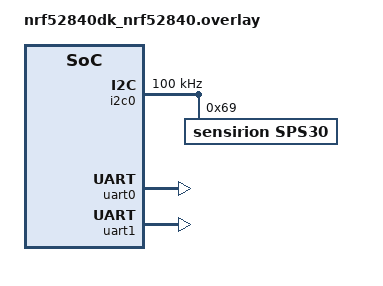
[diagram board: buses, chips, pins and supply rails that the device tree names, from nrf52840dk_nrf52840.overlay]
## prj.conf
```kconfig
CONFIG_GPIO=y

CONFIG_STDOUT_CONSOLE=y
CONFIG_I2C=y
CONFIG_SENSOR=y
CONFIG_CBPRINTF_FP_SUPPORT=y
CONFIG_UART_ASYNC_API=y
CONFIG_UART_1_ASYNC=y
```

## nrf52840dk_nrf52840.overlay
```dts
// &i2c0 {
//   status="okay";
// };


&i2c0 {
  status ="okay";
clock-frequency = <I2C_BITRATE_STANDARD>;
  sps30@69 {
  status = "okay";
  compatible = "sensirion,sps30";
  reg = <0x69>;
  model = "sps30";
};

};

&uart0 {
status = "okay";
hw-flow-control;
};

&uart1 {
  status = "okay";
};  

&pinctrl {
  i2c0_default: i2c0_default {
  group1 {
    psels = <NRF_PSEL(TWIM_SDA, 0, 27)>,
      <NRF_PSEL(TWIM_SCL, 0, 26)>;
          bias-pull-up;
  };
};
};
```

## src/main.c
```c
/*
 * Copyright (c) 2018, Sensirion AG
 * All rights reserved.
 *
 * Redistribution and use in source and binary forms, with or without
 * modification, are permitted provided that the following conditions are met:
 *
 * * Redistributions of source code must retain the above copyright notice, this
 *   list of conditions and the following disclaimer.
 *
 * * Redistributions in binary form must reproduce the above copyright notice,
 *   this list of conditions and the following disclaimer in the documentation
 *   and/or other materials provided with the distribution.
 *
 * * Neither the name of Sensirion AG nor the names of its
 *   contributors may be used to endorse or promote products derived from
 *   this software without specific prior written permission.
 *
 * THIS SOFTWARE IS PROVIDED BY THE COPYRIGHT HOLDERS AND CONTRIBUTORS "AS IS"
 * AND ANY EXPRESS OR IMPLIED WARRANTIES, INCLUDING, BUT NOT LIMITED TO, THE
 * IMPLIED WARRANTIES OF MERCHANTABILITY AND FITNESS FOR A PARTICULAR PURPOSE
 * ARE DISCLAIMED. IN NO EVENT SHALL THE COPYRIGHT HOLDER OR CONTRIBUTORS BE
 * LIABLE FOR ANY DIRECT, INDIRECT, INCIDENTAL, SPECIAL, EXEMPLARY, OR
 * CONSEQUENTIAL DAMAGES (INCLUDING, BUT NOT LIMITED TO, PROCUREMENT OF
 * SUBSTITUTE GOODS OR SERVICES; LOSS OF USE, DATA, OR PROFITS; OR BUSINESS
 * INTERRUPTION) HOWEVER CAUSED AND ON ANY THEORY OF LIABILITY, WHETHER IN
 * CONTRACT, STRICT LIABILITY, OR TORT (INCLUDING NEGLIGENCE OR OTHERWISE)
 * ARISING IN ANY WAY OUT OF THE USE OF THIS SOFTWARE, EVEN IF ADVISED OF THE
 * POSSIBILITY OF SUCH DAMAGE.
 */
#include <stdio.h>  // printf
#include "sps30.h"
#include <zephyr/kernel.h>
#include <zephyr/device.h>
#include <zephyr/drivers/uart.h>
#include <stdio.h>  // printf
#include "sps30.h"

#define UART1_NODE DT_NODELABEL(uart1)
static const struct device *uart_dev = DEVICE_DT_GET(UART1_NODE);

static char tx_buf[256];

void send_data_over_uart(const char *data) {
    uart_tx(uart_dev, data, strlen(data), SYS_FOREVER_MS);
}

int main(void) {
    struct sps30_measurement m;
    int16_t ret;

    if (!device_is_ready(uart_dev)) {
        printf("UART device not ready\n");
        return 0;
    }

    /* Initialize I2C bus */
    sensirion_i2c_init();

    /* Busy loop for initialization, because the main loop does not work without
     * a sensor.
     */
    while (sps30_probe() != 0) {
        printf("SPS sensor probing failed\n");
        snprintf(tx_buf, sizeof(tx_buf), "SPS sensor probing failed\n");
        send_data_over_uart(tx_buf);
        sensirion_sleep_usec(1000000); /* wait 1s */
    }
    printf("SPS sensor probing successful\n");
    snprintf(tx_buf, sizeof(tx_buf), "SPS sensor probing successful\n");
    send_data_over_uart(tx_buf);

    uint8_t fw_major;
    uint8_t fw_minor;
    ret = sps30_read_firmware_version(&fw_major, &fw_minor);
    if (ret) {
        printf("error reading firmware version\n");
        snprintf(tx_buf, sizeof(tx_buf), "error reading firmware version\n");
        send_data_over_uart(tx_buf);
    } else {
        printf("FW: %u.%u\n", fw_major, fw_minor);
        snprintf(tx_buf, sizeof(tx_buf), "FW: %u.%u\n", fw_major, fw_minor);
        send_data_over_uart(tx_buf);
    }

    char serial_number[SPS30_MAX_SERIAL_LEN];
    ret = sps30_get_serial(serial_number);
    if (ret) {
        printf("error reading serial number\n");
        snprintf(tx_buf, sizeof(tx_buf), "error reading serial number\n");
        send_data_over_uart(tx_buf);
    } else {
        printf("Serial Number: %s\n", serial_number);
        snprintf(tx_buf, sizeof(tx_buf), "Serial Number: %s\n", serial_number);
        send_data_over_uart(tx_buf);
    }

    ret = sps30_start_measurement();
    if (ret < 0) {
        printf("error starting measurement\n");
        snprintf(tx_buf, sizeof(tx_buf), "error starting measurement\n");
        send_data_over_uart(tx_buf);
    } else {
        printf("measurements started\n");
        snprintf(tx_buf, sizeof(tx_buf), "measurements started\n");
        send_data_over_uart(tx_buf);
    }

    while (1) {
        sensirion_sleep_usec(SPS30_MEASUREMENT_DURATION_USEC); /* wait 1s */
        ret = sps30_read_measurement(&m);
        if (ret < 0) {
            printf("error reading measurement\n");
            snprintf(tx_buf, sizeof(tx_buf), "error reading measurement\n");
            send_data_over_uart(tx_buf);
        } else {
            printf("Particulate Matter: %0.2f pm10.0\n",m.mc_10p0);
            snprintf(tx_buf, sizeof(tx_buf),"Particulate Matter: %0.2f pm10.0\n",m.mc_10p0);
            send_data_over_uart(tx_buf);
        }
    }

    return 0;
}
```
